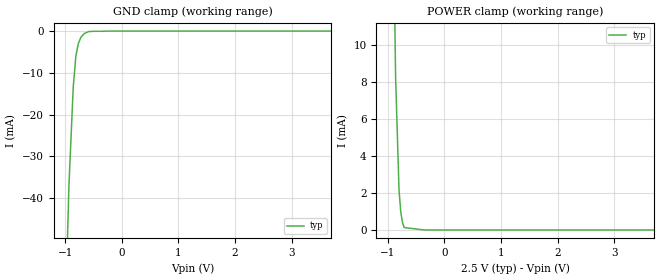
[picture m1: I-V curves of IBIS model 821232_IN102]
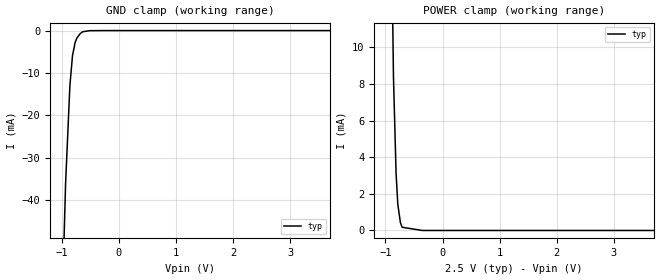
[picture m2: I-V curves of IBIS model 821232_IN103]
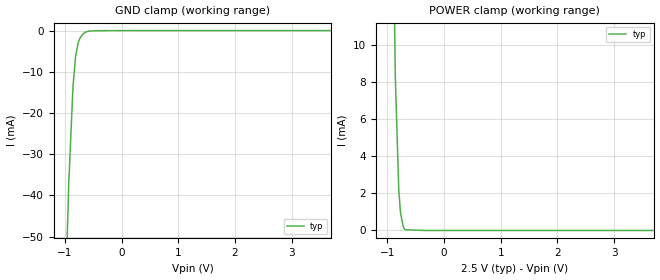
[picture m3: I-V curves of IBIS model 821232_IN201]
| COPYRIGHT(C) MENTOR GRAPHICS CORPORATION 2002 ALL
| RIGHTS RESERVED. THIS WORK CONTAINS PROPRIETARY
| INFORMATION WHICH IS THE PROPERTY OF MENTOR GRAPHICS
| CORPORATION OR ITS LICENSORS. USE OF THESE MATERIALS
| IS SUBJECT TO THE TERMS BELOW.
| USE: YOU MAY USE IBIS MODELS SOLELY FOR DEVELOPING
| PRINTED CIRCUIT BOARD DESIGNS. NO OTHER USE OR
| DISTRIBUTION OF THESE MATERIALS IS PERMITTED.
| DISCLAIMER OF WARRANTY:  UNLESS OTHERWISE AGREED
| IN WRITING, MENTOR GRAPHICS SOFTWARE AND ASSOCIATED
| FILES ARE PROVIDED "AS IS" AND WITHOUT WARRANTY.
| MENTOR GRAPHICS HAS NO OBLIGATION TO SUPPORT OR
| OTHERWISE MAINTAIN SOFTWARE.  MENTOR GRAPHICS MAKES
| NO WARRANTIES, EXPRESS OR IMPLIED WITH RESPECT TO
| SOFTWARE INCLUDING ANY WARRANTY OF MERCHANTABILITY
| OR FITNESS FOR A PARTICULAR PURPOSE.
| LIMITATION OF LIABILITY:  MENTOR GRAPHICS IS NOT LIABLE FOR
| ANY PROPERTY DAMAGE, PERSONAL INJURY, LOSS OF PROFITS,
| INTERRUPTION OF BUSINESS, OR FOR ANY OTHER SPECIAL,
| CONSEQUENTIAL OR INCIDENTAL DAMAGES, HOWEVER CAUSED,
| WHETHER FOR BREACH OF WARRANTY, CONTRACT, TORT
| (INCLUDING NEGLIGENCE), STRICT LIABILITY OR OTHERWISE. IN NO
| EVENT SHALL MENTOR GRAPHICS' LIABILITY EXCEED THE AMOUNT
| PAID FOR THE PRODUCT GIVING RISE TO THE CLAIM.
| TRADEMARKS:  THE FOLLOWING ARE REGISTERED TRADEMARKS
| OR SERVICE MARKS OF MENTOR GRAPHICS CORPORATION:
| ICX, ICX STANDARD LIBRARY, ICX PROJECT MODELING,
| AND ICX CUSTOM MODELING.  THE FOLLOWING ARE TRADEMARKS
| OR SERVICE MARKS OF MENTOR GRAPHICS CORPORATION:
| QUALITYIBIS, MODELVIEWER, AND MODELEDITOR. ALL OTHER
| BRANDS AND PRODUCT NAMES ARE TRADEMARKS OF THEIR
| RESPECTIVE OWNERS.
| COPIES:  ALL COPIES OF SOFTWARE, INCLUDING BUT NOT LIMITED
| TO ANY MODIFICATIONS, ENHANCEMENTS OR DERIVATIVE WORKS
| MUST CONTAIN ALL MENTOR GRAPHICS' NOTICES AND LEGENDS,
| INCLUDING THOSE EMBEDDED IN SOFTWARE AND THOSE AFFIXED
| TO THE SOFTWARE MEDIUM AND CONTAINER, AS RECEIVED FROM
| MENTOR GRAPHICS.
[IBIS Ver] 3.2
[File Name] nbsg53aba_25_800.ibs
[File Rev] 2.0
[Source] Measured and created by ICX Technology
[Date] Wednesday 7/3/02 2:24:05 PM
[Copyright]
| COPYRIGHT(C) MENTOR GRAPHICS CORPORATION 2002 ALL
| RIGHTS RESERVED. THIS WORK CONTAINS PROPRIETARY
| INFORMATION WHICH IS THE PROPERTY OF MENTOR GRAPHICS
| CORPORATION OR ITS LICENSORS. USE OF THESE MATERIALS
| IS SUBJECT TO THE TERMS BELOW.
| USE: YOU MAY USE IBIS MODELS SOLELY FOR DEVELOPING
| PRINTED CIRCUIT BOARD DESIGNS. NO OTHER USE OR
| DISTRIBUTION OF THESE MATERIALS IS PERMITTED.
|  ZAP Model Builder 3.2
[Component] NBSG53ABA_25_800
[Manufacturer] OnSemiconductor
[Package]
| variable   typ   min   max
R_pkg  .151ohms NA NA
L_pkg  1.701nH NA NA
C_pkg  1.097pF NA NA
[Pin] signal_name  model_name  R_pin  L_pin C_pin
A1 _VTD NC .158 1.726n 1.113p
A2 _D 821232_IN102 .153 1.675n 1.08p
A3 D 821232_IN103 .153 1.675n 1.08p
A4 VTD NC .158 1.726n 1.113p
B1 CLK 821232_IN201 .149 1.726n 1.113p
B2 VTCLK NC .144 1.675n 1.08p
B3 VCC POWER .144 1.675n 1.08p
B4 Q 821232_OUT204 .149 1.726n 1.113p
C1 _CLK 821232_IN301 .149 1.726n 1.113p
C2 _VTCLK NC .144 1.675n 1.08p
C3 VEE POWER .144 1.675n 1.08p
C4 _Q 821232_OUT204 .149 1.726n 1.113p
D1 VCC POWER .158 1.726n 1.113p
D2 R 821232_IN402 .153 1.675n 1.08p
D3 SEL 821232_IN403 .153 1.675n 1.08p
D4 OLS 821232_IN404 .158 1.726n 1.113p
[Diff Pin] inv_pin vdiff tdelay_typ tdelay_min tdelay_max
A3 A2 200mV NA NA NA
B1 C1 200mV NA NA NA
B4 C4 NA NA NA NA
| Models and submodels in the file (8): 821232_IN102 (Input_ECL), 821232_IN103 (Input_ECL), 821232_IN201 (Input_ECL), 821232_IN301 (Input_ECL), 821232_IN402 (Input), 821232_IN403 (Input), 821232_IN404 (Input), 821232_OUT204 (Output_ECL)
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| COPYRIGHT(C) MENTOR GRAPHICS CORPORATION 2002 ALL
| RIGHTS RESERVED. THIS WORK CONTAINS PROPRIETARY
| INFORMATION WHICH IS THE PROPERTY OF MENTOR GRAPHICS
| CORPORATION OR ITS LICENSORS. USE OF THESE MATERIALS
| IS SUBJECT TO THE TERMS BELOW.
| USE: YOU MAY USE IBIS MODELS SOLELY FOR DEVELOPING
| PRINTED CIRCUIT BOARD DESIGNS. NO OTHER USE OR
| DISTRIBUTION OF THESE MATERIALS IS PERMITTED.
| Model Application Version 1.89 2/18/99.
[Model] 821232_IN102
Model_type Input_ECL
Vinl = 1.100V
Vinh = 1.250V
C_comp 1.000pF NA NA
| variable typ   min   max
[Voltage Range] 2.500V NA NA
[GND Clamp Reference] 0.000V NA NA
[POWER Clamp Reference] 2.500V NA NA
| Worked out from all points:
|   GND clamp passes 1 mA (typ) near -0.69 V on its own axis
|   POWER clamp passes 1 mA (typ) near -0.77 V on its own axis
[GND Clamp]
-2.5V     -806.4mA   NA         NA
-932.3mV  -36.73mA   NA         NA
-856.5mV  -13.27mA   NA         NA
-810.9mV  -5.964mA   NA         NA
-765.3mV  -2.83mA    NA         NA
-719.7mV  -1.372mA   NA         NA
-659mV    -502.3uA   NA         NA
-587.6mV  -65.19uA   NA         NA
-496.5mV  27.81uA    NA         NA
-349.6mV  27.81uA    NA         NA
-202.7mV  71.6uA     NA         NA
5V        71.6uA     NA         NA
[POWER Clamp]
-2.5V     378.9mA    NA         NA
-859.6mV  8.276mA    NA         NA
-798.9mV  2.141mA    NA         NA
-768.4mV  976.9uA    NA         NA
-737.7mV  393uA      NA         NA
-707.5mV  131.5uA    NA         NA
-353.7mV  0A         NA         NA
5V        0A         NA         NA
| COPYRIGHT(C) MENTOR GRAPHICS CORPORATION 2002 ALL
| RIGHTS RESERVED. THIS WORK CONTAINS PROPRIETARY
| INFORMATION WHICH IS THE PROPERTY OF MENTOR GRAPHICS
| CORPORATION OR ITS LICENSORS. USE OF THESE MATERIALS
| IS SUBJECT TO THE TERMS BELOW.
| USE: YOU MAY USE IBIS MODELS SOLELY FOR DEVELOPING
| PRINTED CIRCUIT BOARD DESIGNS. NO OTHER USE OR
| DISTRIBUTION OF THESE MATERIALS IS PERMITTED.
| Model Application Version 1.89 2/18/99.
[Model] 821232_IN103
Model_type Input_ECL
Vinl = 1.100V
Vinh = 1.250V
C_comp 1.000pF NA NA
| variable typ   min   max
[Voltage Range] 2.500V NA NA
[GND Clamp Reference] 0.000V NA NA
[POWER Clamp Reference] 2.500V NA NA
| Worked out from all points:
|   GND clamp passes 1 mA (typ) near -0.69 V on its own axis
|   POWER clamp passes 1 mA (typ) near -0.76 V on its own axis
[GND Clamp]
-2.5V     -804mA     NA         NA
-932.3mV  -36.36mA   NA         NA
-856.6mV  -13mA      NA         NA
-810.9mV  -5.907mA   NA         NA
-765.3mV  -2.786mA   NA         NA
-735mV    -1.743mA   NA         NA
-674.1mV  -640.4uA   NA         NA
-628.3mV  -216.2uA   NA         NA
-511.7mV  25.03uA    NA         NA
-255.9mV  49.02uA    NA         NA
5V        49.02uA    NA         NA
[POWER Clamp]
-2.5V     404.1mA    NA         NA
-859.6mV  8.397mA    NA         NA
-813.9mV  3.123mA    NA         NA
-783.5mV  1.433mA    NA         NA
-737.8mV  425uA      NA         NA
-707.5mV  175.7uA    NA         NA
-353.8mV  0A         NA         NA
5V        0A         NA         NA
| COPYRIGHT(C) MENTOR GRAPHICS CORPORATION 2002 ALL
| RIGHTS RESERVED. THIS WORK CONTAINS PROPRIETARY
| INFORMATION WHICH IS THE PROPERTY OF MENTOR GRAPHICS
| CORPORATION OR ITS LICENSORS. USE OF THESE MATERIALS
| IS SUBJECT TO THE TERMS BELOW.
| USE: YOU MAY USE IBIS MODELS SOLELY FOR DEVELOPING
| PRINTED CIRCUIT BOARD DESIGNS. NO OTHER USE OR
| DISTRIBUTION OF THESE MATERIALS IS PERMITTED.
| Model Application Version 1.89 2/18/99.
[Model] 821232_IN201
Model_type Input_ECL
Vinl = 1.100V
Vinh = 1.250V
C_comp 1.000pF NA NA
| variable typ   min   max
[Voltage Range] 2.500V NA NA
[GND Clamp Reference] 0.000V NA NA
[POWER Clamp Reference] 2.500V NA NA
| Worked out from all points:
|   GND clamp passes 1 mA (typ) near -0.69 V on its own axis
|   POWER clamp passes 1 mA (typ) near -0.77 V on its own axis
[GND Clamp]
-2.5V     -807mA     NA         NA
-932.3mV  -37.33mA   NA         NA
-856.6mV  -13.56mA   NA         NA
-810.9mV  -6.136mA   NA         NA
-765.3mV  -2.899mA   NA         NA
-734.9mV  -1.808mA   NA         NA
-674.1mV  -665uA     NA         NA
-628.3mV  -257.7uA   NA         NA
-459.8mV  53.49uA    NA         NA
-41.89mV  80.88uA    NA         NA
5V        80.88uA    NA         NA
[POWER Clamp]
-2.5V     375.8mA    NA         NA
-859.5mV  8.275mA    NA         NA
-798.9mV  2.181mA    NA         NA
-768.4mV  959.3uA    NA         NA
-722.6mV  246.8uA    NA         NA
-707.5mV  113.9uA    NA         NA
-681.9mV  38.09uA    NA         NA
-340.9mV  0A         NA         NA
5V        0A         NA         NA
